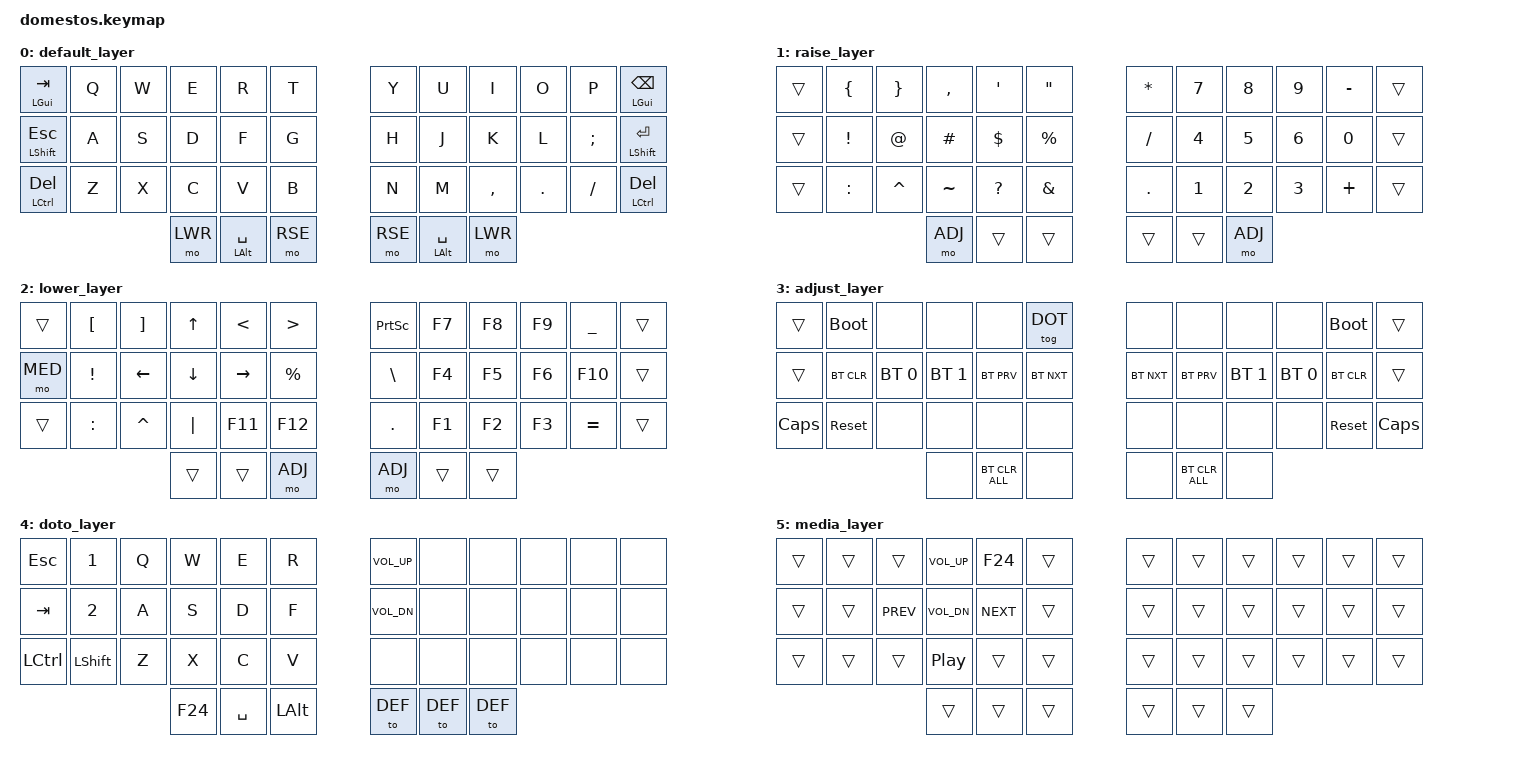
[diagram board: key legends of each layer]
#include <behaviors.dtsi>

#include <dt-bindings/zmk/bt.h>

#include <dt-bindings/zmk/keys.h>

#define DEF 0
#define LWR 1
#define RSE 2
#define ADJ 3
#define DOT 4
#define MED 5

&lt {
    quick-tap-ms = <200>;
};

&mt {
    quick-tap-ms = <200>;
};

/ {
    conditional_layers {
        compatible = "zmk,conditional-layers";
        tri-layer {
            if-layers = <1 2>;
            then-layer = <3>;
        };
    };
    keymap {
        compatible = "zmk,keymap";
        default_layer {

//             ---------------------------------------------------------------------------------------------------------------------------------
//             |  SUP/TAB    |  Q  |  W  |  E  |  R  |  T  |                                    |  Y  |  U  |  I  |  O  |  P  |  SUP/BACKSPACE|
//             |  SHIFT/ESC  |  A  |  S  |  D  |  F  |  G  |                                    |  H  |  J  |  K  |  L  |  ;  |  SHIFT/ENTER  |
//             |  CTRL/DELETE|  Z  |  X  |  C  |  V  |  B  |                                    |  N  |  M  |  ,  |  .  |  /  |  CTRL/DELETE  |
//                                          |LOWER|ALT/SPACE|RAISE|                        |RAISE|ALT/SPACE|LOWER|
            bindings = <
                &mt LGUI TAB    &kp Q  &kp W  &kp E  &kp R  &kp T                      &kp Y  &kp U  &kp I  &kp O  &kp P  &mt LGUI BSPC 
                &mt LSHIFT ESC  &kp A  &kp S  &kp D  &kp F  &kp G                      &kp H  &kp J  &kp K  &kp L  &kp SEMI  &mt LSHIFT RET
                &mt LCTRL DEL   &kp Z  &kp X  &kp C  &kp V  &kp B                      &kp N  &kp M  &kp COMMA  &kp PERIOD  &kp FSLH  &mt LCTRL DEL
                                       &mo LWR   &mt LALT SPACE   &mo RSE        &mo RSE   &mt LALT SPACE   &mo LWR
            >;
        };
        raise_layer {
// ---------------------------------------------------------------------------------------------------------------------------------
//                         |       |   {  |   }  |   ,  |   '  |   "  |                                       |   *  |  7   |   8  |   9  |   -  |     |
//                         |       |   !  |   @  |   #  |   $  |   %  |                                       |   /  |  4   |   5  |   6  |   0  |     |
//                         |       |   :  |   ^  |   ~  |   ?  |   &  |                                       |   .  |  1   |   2  |   3  |   +  |     |
            bindings = <
                &trans  &kp LBRC   &kp RBRC   &kp COMMA  &kp SQT    &kp DQT                            &kp ASTRK  &kp N7  &kp N8  &kp N9  &kp MINUS  &trans
                &trans  &kp EXCL   &kp AT     &kp HASH   &kp DLLR   &kp PRCNT                          &kp FSLH   &kp N4  &kp N5  &kp N6  &kp N0     &trans
                &trans  &kp COLON  &kp CARET  &kp TILDE  &kp QMARK  &kp AMPS                           &kp PERIOD &kp N1  &kp N2  &kp N3  &kp PLUS   &trans
                                                         &mo ADJ    &trans     &trans       &trans     &trans     &mo ADJ
            >;   
        };
        lower_layer {
// ---------------------------------------------------------------------------------------------------------------------------------
// |         |  [  |   ]  |   ^  |   <  |   >  |         |                                       |         |PSCRN |  F7   |   F8  |   F9  |   _  |     |
// |MED_layer|  !  |   <- |   v  |   -> |   %  |         |                                       |         |   \  |  F4   |   F5  |   F6  | F10  |     |
// |         |  :  |   ^  | "|"  |  F11 |  F12 |ADJ_layer|                                       |ADJ_layer|   .  |  F1   |   F2  |   F3  |   =  |     |
//                                        |         |         |ADJ_LAYER|            |ADJ_LAYER|       |          |

            bindings = <
                &trans  &kp LBKT   &kp RBKT   &kp UP    &kp LT     &kp GT                     &kp PSCRN   &kp F7  &kp F8  &kp F9  &kp UNDER  &trans
                &mo MED &kp EXCL   &kp LEFT   &kp DOWN  &kp RIGHT  &kp PRCNT                  &kp BSLH    &kp F4  &kp F5  &kp F6  &kp F10    &trans
                &trans  &kp COLON  &kp CARET  &kp PIPE  &kp F11    &kp F12                    &kp PERIOD  &kp F1  &kp F2  &kp F3  &kp EQUAL  &trans
                                                     &trans    &trans     &mo ADJ         &mo ADJ     &trans     &trans
            >;
        };
        adjust_layer {
// ---------------------------------------------------------------------------------------------------------------------------------------------------
// |       |bootloader|        |        |      |  DOTo  |                           |          |      |        |        |          |bootloader|      |
// |       |  BT_CLR  |BT_SEL 0|BT_SEL 1|BT_PRV| BT_NXT |                           | BT_NXT   |BT_PRV|BT_SEL 1|BT_SEL 0|  BT_CLR  |          |      |
// |  CAPS |sys_reset |        |        |      |        |                           |          |      |        |        |          | sys_reset| CAPS |
//                                 |         |BT_CLR_ALL|       |            |      |BT_CLR_ALL|          |

            bindings = <
                &trans   &bootloader  &none        &none         &none       &tog DOT                    &none       &none        &none        &none        &bootloader &trans
                &trans   &bt BT_CLR   &bt BT_SEL 0 &bt BT_SEL 1  &bt BT_PRV  &bt BT_NXT                  &bt BT_NXT  &bt BT_PRV   &bt BT_SEL 1 &bt BT_SEL 0 &bt BT_CLR  &trans
                &kp CAPS &sys_reset   &none        &none         &none       &none                       &none       &none        &none        &none        &sys_reset  &kp CAPS
                                                              &none &bt BT_CLR_ALL  &none           &none &bt BT_CLR_ALL &none 
            >;
        };
        doto_layer {
// ---------------------------------------------------------------------------------------------------------------------------------
// | ESC  |  1   |   Q  |   W  |   E  |   R  |                                         |VOL_UP|     |     |     |     |     |
// | TAB  |  2   |   A  |   S  |   D  |   F  |                                         |VOL_DN|     |     |     |     |     |
// | CTRL |SHIFT |   Z  |   X  |   C  |   V  |                                         |      |     |     |     |     |     |
//                             | F24  | SPACE|  ALT |                           |DEF|DEF|DEF| 
            bindings = <
                &kp ESC    &kp N1      &kp Q   &kp W   &kp E    &kp R                          &kp C_VOL_UP    &none    &none    &none    &none    &none
                &kp TAB    &kp N2      &kp A   &kp S   &kp D    &kp F                          &kp C_VOL_DN    &none    &none    &none    &none    &none
                &kp LCTRL  &kp LSHIFT  &kp Z   &kp X   &kp C    &kp V                          &none           &none    &none    &none    &none    &none
                                                        &kp F24 &kp SPACE &kp LALT       &to DEF &to DEF &to DEF
            >;
        };
        media_layer {
// ---------------------------------------------------------------------------------------------------------------------------------
//             |      |      |      |VOL_UP| F24  |      |                         |      |      |      |      |      |     |
//             |      |      |MED_PR|VOL_DN|MED_NT|      |                         |      |      |      |      |      |     |
//             |      |      |      |PAUSE |      |      |                         |      |      |      |      |      |     |
//                                                |     |      |    |         |    |    |    |
            bindings = <
                &trans &trans &trans &kp C_VOL_UP &kp F24 &trans                               &trans &trans &trans &trans &trans &trans
                &trans &trans &kp C_PREV &kp C_VOL_DN &kp C_NEXT &trans                        &trans &trans &trans &trans &trans &trans
                &trans &trans &trans &kp C_PP &trans &trans                                    &trans &trans &trans &trans &trans &trans
                                               &trans &trans &trans               &trans &trans &trans
            >;
        };
    };
};
